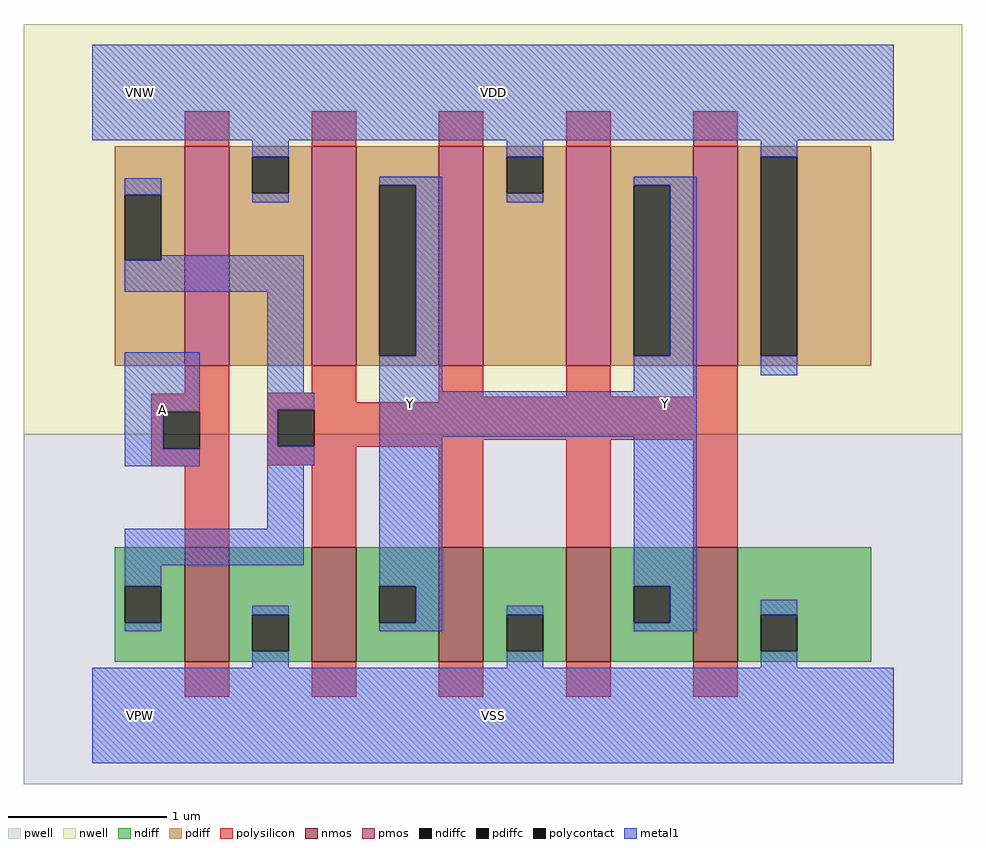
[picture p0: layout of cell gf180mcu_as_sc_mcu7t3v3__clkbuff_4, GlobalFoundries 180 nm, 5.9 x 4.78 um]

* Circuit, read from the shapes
.subckt gf180mcu_as_sc_mcu7t3v3__clkbuff_4 VDD VNW VPW VSS A Y
XM1 VSS A n1 VPW nfet_03v3 w=0.72u l=0.28u
XM2 Y n1 VSS VPW nfet_03v3 w=0.72u l=0.28u m=4
XM3 VDD A n1 VNW pfet_03v3 w=1.38u l=0.28u
XM4 Y n1 VDD VNW pfet_03v3 w=1.38u l=0.28u m=4
.ends

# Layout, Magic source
magic
tech gf180mcuD
magscale 1 10
<< nwell >>
rect -86 354 1094 870
<< pwell >>
rect -86 -86 1094 354
<< nmos >>
rect 116 68 172 212
rect 276 68 332 212
rect 436 68 492 212
rect 596 68 652 212
rect 756 68 812 212
<< pmos >>
rect 116 440 172 716
rect 276 440 332 716
rect 436 440 492 716
rect 596 440 652 716
rect 756 440 812 716
<< ndiff >>
rect 28 163 116 212
rect 28 117 41 163
rect 87 117 116 163
rect 28 68 116 117
rect 172 127 276 212
rect 172 81 201 127
rect 247 81 276 127
rect 172 68 276 81
rect 332 163 436 212
rect 332 117 361 163
rect 407 117 436 163
rect 332 68 436 117
rect 492 127 596 212
rect 492 81 521 127
rect 567 81 596 127
rect 492 68 596 81
rect 652 163 756 212
rect 652 117 681 163
rect 727 117 756 163
rect 652 68 756 117
rect 812 127 980 212
rect 812 81 841 127
rect 887 81 980 127
rect 812 68 980 81
<< pdiff >>
rect 28 655 116 716
rect 28 573 41 655
rect 87 573 116 655
rect 28 440 116 573
rect 172 703 276 716
rect 172 657 201 703
rect 247 657 276 703
rect 172 440 276 657
rect 332 667 436 716
rect 332 453 361 667
rect 407 453 436 667
rect 332 440 436 453
rect 492 703 596 716
rect 492 657 521 703
rect 567 657 596 703
rect 492 440 596 657
rect 652 667 756 716
rect 652 453 681 667
rect 727 453 756 667
rect 652 440 756 453
rect 812 703 980 716
rect 812 453 841 703
rect 887 453 980 703
rect 812 440 980 453
<< ndiffc >>
rect 41 117 87 163
rect 201 81 247 127
rect 361 117 407 163
rect 521 81 567 127
rect 681 117 727 163
rect 841 81 887 127
<< pdiffc >>
rect 41 573 87 655
rect 201 657 247 703
rect 361 453 407 667
rect 521 657 567 703
rect 681 453 727 667
rect 841 453 887 703
<< polysilicon >>
rect 116 716 172 760
rect 276 716 332 760
rect 436 716 492 760
rect 596 716 652 760
rect 756 716 812 760
rect 116 405 172 440
rect 276 406 332 440
rect 74 382 172 405
rect 74 336 89 382
rect 135 336 172 382
rect 74 314 172 336
rect 220 394 332 406
rect 436 401 492 440
rect 596 401 652 440
rect 756 401 812 440
rect 436 394 812 401
rect 220 385 812 394
rect 220 339 233 385
rect 279 347 812 385
rect 279 339 492 347
rect 220 338 492 339
rect 220 315 332 338
rect 116 212 172 314
rect 276 212 332 315
rect 436 212 492 338
rect 596 212 652 347
rect 756 212 812 347
rect 116 24 172 68
rect 276 24 332 68
rect 436 24 492 68
rect 596 24 652 68
rect 756 24 812 68
<< polycontact >>
rect 89 336 135 382
rect 233 339 279 385
<< metal1 >>
rect 0 724 1008 844
rect 201 703 247 724
rect 41 655 87 676
rect 521 703 567 724
rect 201 646 247 657
rect 361 667 440 678
rect 87 573 266 579
rect 41 533 266 573
rect 41 382 135 457
rect 41 336 89 382
rect 41 314 135 336
rect 220 406 266 533
rect 407 453 440 667
rect 841 703 887 724
rect 521 646 567 657
rect 681 667 760 678
rect 361 408 440 453
rect 727 453 760 667
rect 681 408 760 453
rect 841 428 887 453
rect 220 385 279 406
rect 220 339 233 385
rect 220 315 279 339
rect 361 351 760 408
rect 220 235 266 315
rect 41 189 266 235
rect 41 163 87 189
rect 361 163 440 351
rect 41 106 87 117
rect 201 127 247 138
rect 407 117 440 163
rect 681 163 760 351
rect 361 106 440 117
rect 521 127 567 138
rect 201 60 247 81
rect 727 117 760 163
rect 681 106 760 117
rect 841 127 887 146
rect 521 60 567 81
rect 841 60 887 81
rect 0 -60 1008 60
<< labels >>
flabel metal1 s 0 724 1008 844 0 FreeSans 400 0 0 0 VDD
port 1 nsew power bidirectional abutment
flabel metal1 s 0 -60 1008 60 0 FreeSans 400 0 0 0 VSS
port 4 nsew ground bidirectional abutment
flabel nwell s 10 734 110 834 0 FreeSans 400 0 0 0 VNW
port 2 nsew power bidirectional
flabel pwell s 10 -50 110 50 0 FreeSans 400 0 0 0 VPW
port 3 nsew ground bidirectional
flabel metal1 41 314 135 457 0 FreeSans 200 0 0 0 A
port 5 nsew signal input
flabel metal1 681 106 760 678 0 FreeSans 200 0 0 0 Y
port 6 nsew signal output
flabel metal1 361 106 440 678 0 FreeSans 200 0 0 0 Y
port 6 nsew signal output
<< properties >>
string FIXED_BBOX 0 0 1008 784
string LEFclass CORE
string LEFsite unithd
string LEFsymmetry X Y
string MASKHINTS_NPLUS -16 -46 1024 354
string MASKHINTS_PPLUS -16 354 1024 830
<< end >>
